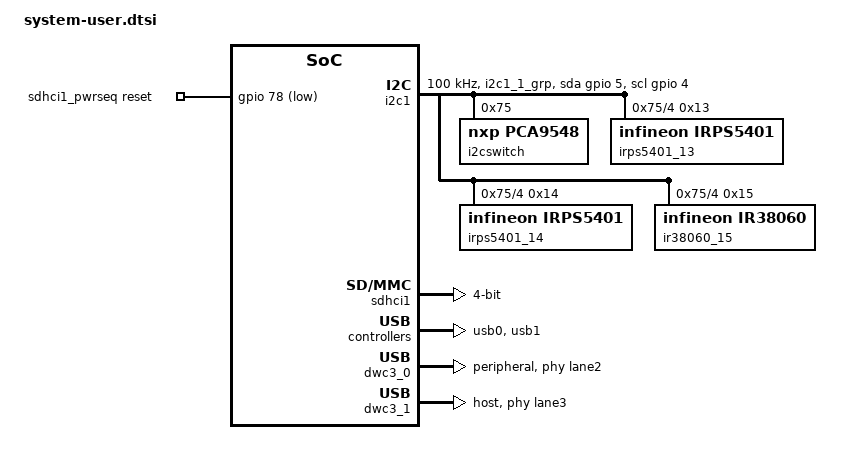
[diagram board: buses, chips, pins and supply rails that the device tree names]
/include/ "system-conf.dtsi"
/ {

   /* WILC3000 module: release RESETN on kernel boot */  
   sdhci1_pwrseq: sdhci1_pwrseq {
      compatible = "mmc-pwrseq-simple";
      /* reset-gpios = <&gpio 7 1>;  // MIO[7] for RESETN, Active low, JT5 strapped to pins 2-3 */
      reset-gpios = <&gpio 78 1>;  // device pin A3 for RESETN, Active low, JT5 strapped to pins 1-2
      post-power-on-delay-ms = <10>;
   };

	aliases {
		i2c0 = &i2c1;
	};

};

&i2c1 {
	status = "okay";
	clock-frequency = <100000>;
	pinctrl-names = "default", "gpio";
	pinctrl-0 = <&pinctrl_i2c1_default>;
	pinctrl-1 = <&pinctrl_i2c1_gpio>;
	scl-gpios = <&gpio 4 0>;
	sda-gpios = <&gpio 5 0>;

	i2cswitch@75 { /* U7 on Ultra96-V2 */
		compatible = "nxp,pca9548";
		#address-cells = <1>;
		#size-cells = <0>;
		reg = <0x75>;
		i2c@0 { /* i2c mw 75 0 1 */
			#address-cells = <1>;
			#size-cells = <0>;
			reg = <0>;
         /* LS MEZZ I2C0 */
      };
		i2c@1 { /* i2c mw 75 0 2 */
			#address-cells = <1>;
			#size-cells = <0>;
			reg = <1>;
         /* LS MEZZ I2C1 */
      };
		i2c@2 { /* i2c mw 75 0 4 */
			#address-cells = <1>;
			#size-cells = <0>;
			reg = <2>;
         /* HS MEZZ I2C2 */
      };
		i2c@3 { /* i2c mw 75 0 8 */
			#address-cells = <1>;
			#size-cells = <0>;
			reg = <3>;
         /* HS MEZZ I2C3 */
      };
		i2c@4 { /* i2c mw 75 0 10 */
			#address-cells = <1>;
			#size-cells = <0>;
			reg = <4>;
			/* PMBus PMIC */
			irps5401_13: irps5401@13 { /* U11 on Ultra96-V2 */
            /* #clock-cells = <0>; */
				compatible = "infineon,irps5401";
				reg = <0x13>;
			};

			/* PMBus PMIC */
			irps5401_14: irps5401@14 { /* U12 on Ultra96-V2 */
            /* #clock-cells = <0>; */
				compatible = "infineon,irps5401";
				reg = <0x14>;
			};

			/* PMBus PMIC */
			ir38060_15: ir38060@15 { /* U21 on Ultra96-V2 */
            /* #clock-cells = <0>; */
				compatible = "infineon,ir38060";
				reg = <0x15>;
			};
		};
	};
};

&pinctrl0 {
	status = "okay";
	pinctrl_i2c1_default: i2c1-default {
		mux {
			groups = "i2c1_1_grp";
			function = "i2c1";
		};

		conf {
			groups = "i2c1_1_grp";
			bias-pull-up;
			slew-rate = <1>;
			io-standard = <1>;
		};
	};

	pinctrl_i2c1_gpio: i2c1-gpio {
		mux {
			groups = "gpio0_4_grp", "gpio0_5_grp";
			function = "gpio0";
		};

		conf {
			groups = "gpio0_4_grp", "gpio0_5_grp";
			slew-rate = <1>;
			io-standard = <1>;
		};
	};
};

&sdhci1 {
   status = "okay";
   bus-width= <4>;
   max-frequency = <50000000>;
   broken-cd;
   mmc-pwrseq = <&sdhci1_pwrseq>;
};

&usb0 {
   status = "okay";
};

&dwc3_0 {
   status = "okay";
   dr_mode = "peripheral";
   phy-names = "usb3-phy";
	phys = <&lane2 4 0 0 26000000>;
	maximum-speed = "super-speed";   
};

&usb1 {
   status = "okay";
};

&dwc3_1 {
   status = "okay";
	dr_mode = "host";
	phy-names = "usb3-phy";
	phys = <&lane3 4 1 0 26000000>;
	maximum-speed = "super-speed";
};
